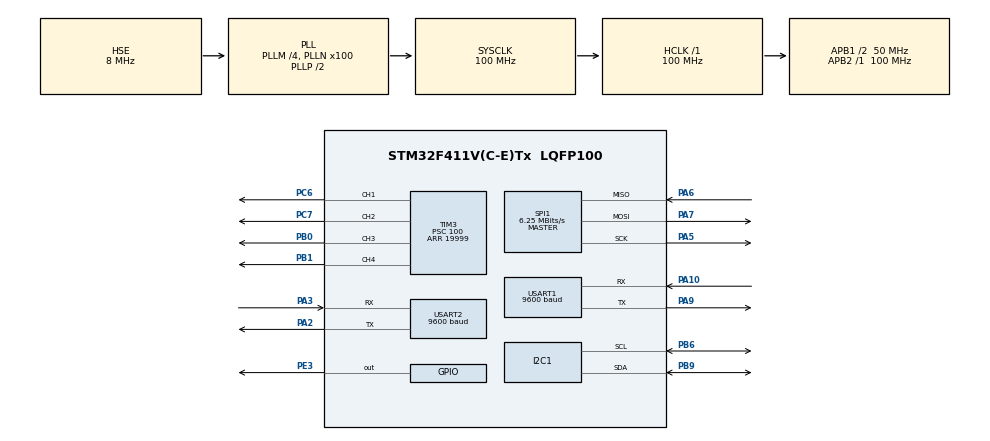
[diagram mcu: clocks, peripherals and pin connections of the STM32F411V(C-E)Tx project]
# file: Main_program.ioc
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I2C1.I2C_Mode=I2C_Fast
Mcu.Family=STM32F4
Mcu.Name=STM32F411V(C-E)Tx
Mcu.Package=LQFP100
NVIC.PriorityGroup=NVIC_PRIORITYGROUP_4
NVIC.TIM4_IRQn=true\:0\:0\:false\:false\:true\:true\:true
PA10.Mode=Asynchronous
PA10.Signal=USART1_RX
PA13.Mode=Serial_Wire
PA13.Signal=SYS_JTMS-SWDIO
PA14.Mode=Serial_Wire
PA14.Signal=SYS_JTCK-SWCLK
PA2.Mode=Asynchronous
PA2.Signal=USART2_TX
PA3.Mode=Asynchronous
PA3.Signal=USART2_RX
PA5.Mode=Full_Duplex_Master
PA5.Signal=SPI1_SCK
PA6.Mode=Full_Duplex_Master
PA6.Signal=SPI1_MISO
PA7.Mode=Full_Duplex_Master
PA7.Signal=SPI1_MOSI
PA9.Mode=Asynchronous
PA9.Signal=USART1_TX
PB0.Signal=S_TIM3_CH3
PB1.Signal=S_TIM3_CH4
PB6.Mode=I2C
PB6.Signal=I2C1_SCL
PB9.Mode=I2C
PB9.Signal=I2C1_SDA
PC6.Signal=S_TIM3_CH1
PC7.Signal=S_TIM3_CH2
PE3.Signal=GPIO_Output
PH0\ -\ OSC_IN.Mode=HSE-External-Oscillator
PH0\ -\ OSC_IN.Signal=RCC_OSC_IN
PH1\ -\ OSC_OUT.Mode=HSE-External-Oscillator
PH1\ -\ OSC_OUT.Signal=RCC_OSC_OUT
ProjectManager.HeapSize=0x200
ProjectManager.StackSize=0x400
ProjectManager.TargetToolchain=MDK-ARM V5
RCC.48MHZClocksFreq_Value=50000000
RCC.AHBFreq_Value=100000000
RCC.APB1CLKDivider=RCC_HCLK_DIV2
RCC.APB1Freq_Value=50000000
RCC.APB1TimFreq_Value=100000000
RCC.APB2Freq_Value=100000000
RCC.APB2TimFreq_Value=100000000
RCC.CortexFreq_Value=100000000
RCC.HCLKFreq_Value=100000000
RCC.HSE_VALUE=8000000
RCC.HSI_VALUE=16000000
RCC.LSE_VALUE=32768
RCC.PLLM=4
RCC.PLLN=100
RCC.PLLSourceVirtual=RCC_PLLSOURCE_HSE
RCC.SYSCLKFreq_VALUE=100000000
RCC.SYSCLKSource=RCC_SYSCLKSOURCE_PLLCLK
RCC.VCOOutputFreq_Value=200000000
SH.S_TIM3_CH1.0=TIM3_CH1,PWM Generation1 CH1
SH.S_TIM3_CH2.0=TIM3_CH2,PWM Generation2 CH2
SH.S_TIM3_CH3.0=TIM3_CH3,PWM Generation3 CH3
SH.S_TIM3_CH4.0=TIM3_CH4,PWM Generation4 CH4
SPI1.BaudRatePrescaler=SPI_BAUDRATEPRESCALER_16
SPI1.CalculateBaudRate=6.25 MBits/s
SPI1.Direction=SPI_DIRECTION_2LINES
SPI1.Mode=SPI_MODE_MASTER
SPI1.VirtualType=VM_MASTER
TIM3.Channel-PWM\ Generation1\ CH1=TIM_CHANNEL_1
TIM3.Channel-PWM\ Generation2\ CH2=TIM_CHANNEL_2
TIM3.Channel-PWM\ Generation3\ CH3=TIM_CHANNEL_3
TIM3.Channel-PWM\ Generation4\ CH4=TIM_CHANNEL_4
TIM3.Period=19999
TIM3.Prescaler=100
TIM4.Period=24999
TIM4.Prescaler=20
USART1.BaudRate=9600
USART1.VirtualMode=VM_ASYNC
USART2.BaudRate=9600
USART2.VirtualMode=VM_ASYNC
VP_TIM3_VS_ClockSourceINT.Mode=Internal
VP_TIM4_VS_ClockSourceINT.Mode=Internal
board=custom

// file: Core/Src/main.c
/* USER CODE BEGIN Header */
/**
  ******************************************************************************
  * @file           : main.c
  * @brief          : Main program body
  ******************************************************************************
  * @attention
  *
  * <h2><center>&copy; Copyright (c) 2021 STMicroelectronics.
  * All rights reserved.</center></h2>
  *
  * This software component is licensed by ST under BSD 3-Clause license,
  * the "License"; You may not use this file except in compliance with the
  * License. You may obtain a copy of the License at:
  *                        opensource.org/licenses/BSD-3-Clause
  *
  ******************************************************************************
  */
/* USER CODE END Header */
#include "main.h"
#include "i2c.h"
#include "spi.h"
#include "tim.h"
#include "usart.h"
#include "gpio.h"

/* USER CODE BEGIN Includes */
#include "IMU.h"
#include "math.h"
#include "stdio.h"
/* USER CODE END Includes */

/* USER CODE BEGIN PV */
axis trucx, trucy, trucz;

extern  double U1, U2, U3, U4 , offset_nghiengX, offset_nghiengY;
double b = 0.00009, d = 0.000006484;
double dt=0.025;
double T = 0.05;

double PWM[4];
double pwm1, pwm2, pwm3, pwm4;

int dem;
char buffer[100] = {0};
double gocread[800];

/*PID controller variables*/
extern float gocdat_Roll, error_Roll, error_Roll_pre, pid_roll_P, pid_roll_I, pid_roll_D;
extern float gocdat_Pitch , error_Pitch,error_Pitch_pre, pid_pitch_P, pid_pitch_I, pid_pitch_D;
extern float gocdat_Yaw , error_Yaw,error_Yaw_pre, pid_yaw_P, pid_yaw_I, pid_yaw_D, yaw_PID;

float roll_PID =0, pitch_PID = 0,yaw_PID = 0;

float roll_pre = 0, pitch_pre = 0;

volatile unsigned char btn;
float y_temp = 0;
//             Roll 1-3 (4, 0.01, 35);        Pitch 2-4(2.05, 0.015, 28);          YAW( P:5.2,I:0.5, D: 0.5)
volatile float KP1 = 1.35, KD1 = 35, KI1 = 0.015, KP2 = 1.35 , KD2 = 35, KI2 = 0.015 , KP3 =  3, KD3=0,KI3 = 0;
//volatile float KP1 = 0, KD1 = 0, KI1 = 0.0, KP2 = 0 , KD2 = 0, KI2 = 00.0, KP3 = 0 , KD3=0,KI3 = 0;

/* USER CODE END PV */

void SystemClock_Config(void);
/* USER CODE BEGIN PFP */
void Calculation_SetPoint(void);
/* USER CODE END PFP */

/* USER CODE BEGIN 0 */
void HAL_TIM_PeriodElapsedCallback(TIM_HandleTypeDef *htim)
{
  if (htim->Instance == htim4.Instance)
	{

		LMS303DLHC_getdata(&trucx, &trucy,&trucz);
		L3GD20_getdata(&trucx, &trucy,&trucz);

		/* Complementary filter */
		trucx.gocreal = 0.98*(trucx.gocreal + trucx.goc_gryo) + 0.02*trucx.goc_acel;
		trucy.gocreal = 0.98*(trucy.gocreal + trucy.goc_gryo) + 0.02*trucy.goc_acel;

		/* Low- pass filter*/
		trucx.gocreal = (trucx.gocreal * dt + T * pitch_pre) / (dt + T);

		pitch_pre = trucx.gocreal;

		trucy.gocreal = (trucy.gocreal * dt + T * roll_pre ) / (dt + T);
		y_temp = trucy.gocreal * -1;
		roll_pre = trucy.gocreal;

		/*Calculation yaw angle from roll and pitch after filter*/
		yaw_cal(&trucx, &trucy, &trucz);

		/* Calculate Set point*/
		Calculation_SetPoint();

		/************* Calculate Roll PID controller ********************/

		error_Roll = gocdat_Roll - trucx.gocreal; 	// error

		pid_roll_P  =  KP1 * error_Roll;            // P part

		if ( error_Roll > -30 && error_Roll < 30)
			 { pid_roll_I += KI1 * error_Roll; }			// I part

		pid_roll_D  = (float)KD1 * (error_Roll - error_Roll_pre); // D part
		error_Roll_pre = error_Roll;

		if (pid_roll_I  >  100)
			 { pid_roll_I  =  100;}

		if (pid_roll_I  < -100)
			 {pid_roll_I  = -100;}

		roll_PID  = pid_roll_P + pid_roll_I + pid_roll_D;   // Total

		if ( roll_PID  < -400)
		   { roll_PID  = -400;}

		if ( roll_PID  >  400)
		   { roll_PID =   400;}

		/******************************************************************/

		/************** Calculate Pitch PID controller ********************/

		error_Pitch = gocdat_Pitch - y_temp -2.2;    // error

		pid_pitch_P =  KP2 * error_Pitch;		// P part

		if ( error_Pitch > -30 && error_Pitch < 30)  // I Part
			 { pid_pitch_I += KI2 * error_Pitch; }

		pid_pitch_D = (float)KD2 * (error_Pitch - error_Pitch_pre);	 // D part
		error_Pitch_pre = error_Pitch;

		if (pid_pitch_I >  100)
			 { pid_pitch_I =  100;}

		if (pid_pitch_I < -100)
			 { pid_pitch_I = -100;}

		pitch_PID = pid_pitch_P + pid_pitch_I + pid_pitch_D;  // Total

		if ( pitch_PID < -400)
			 { pitch_PID = -400;}

		if ( pitch_PID >  400)
			 { pitch_PID =  400;}

		/******************************************************************/

		/************** Calculate Pitch PID controller ********************/

		error_Yaw = gocdat_Yaw - trucz.gocreal;

		pid_yaw_P   =  KP3* error_Yaw;  // P part
		pid_yaw_I  += KI3 * error_Yaw * dt; // I Part
		pid_yaw_D   = (float)KD3 * (error_Yaw - error_Yaw_pre)/dt; // D part
    error_Yaw_pre = error_Yaw;

		if (pid_yaw_I   >  50)
			 {pid_yaw_I   =  50;}

		if (pid_yaw_I   < -50)
			 {pid_yaw_I   = -50;}

		yaw_PID		= pid_yaw_P + pid_yaw_I + pid_yaw_D;  // Total

		if ( yaw_PID   < -400)
		   { yaw_PID  = -400;}

		if ( yaw_PID   >  400)
			 { yaw_PID =   400;}

		/******************************************************************/

		/* Calculate PWM output*/
		if(U1 > 1500)
			U1 = 1500;

		PWM[0] = U1 + pitch_PID  - yaw_PID ;
		PWM[1] = U1 + roll_PID + yaw_PID;
		PWM[2] = U1 - pitch_PID  - yaw_PID ;
		PWM[3] = U1 - roll_PID + yaw_PID;

	 for (int i=0;i<4;i++)
		 {
	     if (PWM[i] > 2000)
				 PWM[i] = 2000;
			 else if (PWM[i] < 1000)
				 PWM[i] = 1000;
		 }

		pwm1 = PWM[0] + offset_nghiengX;
		pwm2 = PWM[1] + offset_nghiengY;
		pwm3 = PWM[2] - offset_nghiengX;
		pwm4 = PWM[3] - offset_nghiengY;

	__HAL_TIM_SetCompare (&htim3, TIM_CHANNEL_1,(uint16_t)pwm1);
	__HAL_TIM_SetCompare (&htim3, TIM_CHANNEL_2,(uint16_t)pwm2);
	__HAL_TIM_SetCompare (&htim3, TIM_CHANNEL_3,(uint16_t)pwm3);
	__HAL_TIM_SetCompare (&htim3, TIM_CHANNEL_4,(uint16_t)pwm4);

	}

	/* Truyen thong 50ms/1 time: tang offset de lay phan thap phan*/
	if(dem++ > 2)
	{
		int size;
		long tmp_gocdatRoll = (long)1000*gocdat_Roll;
		long tmp_gocrealRoll = (long)1000*(trucy.gocreal+45);

		long tmp_gocdatPitch = (long)1000* gocdat_Pitch;
		long tmp_gocrealPitch = (long)1000*(trucx.gocreal+45);

		long tmp_gocdatYaw = (long) 1000*gocdat_Yaw;
		long tmp_gocrealYaw = (long)1000*(trucz.gocreal+45);

		size = sprintf((char*)buffer,"A,%ld,%ld,%ld,%ld,%ld,%ld\n",
										tmp_gocdatRoll,tmp_gocrealRoll, tmp_gocdatPitch, tmp_gocrealPitch, tmp_gocdatYaw, tmp_gocrealYaw);

		HAL_UART_Transmit(&huart2,(uint8_t*)buffer,size,100);
		dem=0;
	}
}
/* USER CODE END 0 */

int main(void)
{

  /* MCU Configuration--------------------------------------------------------*/

  /* Reset of all peripherals, Initializes the Flash interface and the Systick. */

  HAL_Init();

  /* Configure the system clock */
  SystemClock_Config();

  /* Initialize all configured peripherals */
  MX_GPIO_Init();
  MX_I2C1_Init();
  MX_SPI1_Init();
  MX_TIM3_Init();
  MX_TIM4_Init();
  MX_USART1_UART_Init();
  MX_USART2_UART_Init();
  /* USER CODE BEGIN 2 */

	/*Initialize sensor*/
	LMS303DLHC_Init();
  L3GD20_Init();
	HAL_Delay(10);

	/* Get data from sensor*/
	LMS303DLHC_getdata(&trucx, &trucy,&trucz);
  L3GD20_getdata(&trucx, &trucy,&trucz);

	/* Start receiver data from bluetooth*/
	HAL_UART_Receive(&huart1, &Button, 1, 100);

	/*Inititalize PWM channel*/
	HAL_TIM_PWM_Start(&htim3, TIM_CHANNEL_1);
	HAL_TIM_PWM_Start(&htim3, TIM_CHANNEL_2);
	HAL_TIM_PWM_Start(&htim3, TIM_CHANNEL_3);
	HAL_TIM_PWM_Start(&htim3, TIM_CHANNEL_4);

	/*Set PWM min*/
//	__HAL_TIM_SetCompare (&htim3, TIM_CHANNEL_1, 2000);
//	__HAL_TIM_SetCompare (&htim3, TIM_CHANNEL_2, 2000);
//	__HAL_TIM_SetCompare (&htim3, TIM_CHANNEL_3, 2000);
//	__HAL_TIM_SetCompare (&htim3, TIM_CHANNEL_4, 2000);
//	HAL_Delay(3000);
	__HAL_TIM_SetCompare (&htim3, TIM_CHANNEL_1, 1000);
	__HAL_TIM_SetCompare (&htim3, TIM_CHANNEL_2, 1000);
		__HAL_TIM_SetCompare (&htim3, TIM_CHANNEL_3, 1000);
	__HAL_TIM_SetCompare (&htim3, TIM_CHANNEL_4, 1000);
	HAL_Delay (2000);
	gocdat_Pitch = gocdat_Roll = 0;
		gocdat_Yaw = 150;
		HAL_TIM_Base_Start_IT(&htim4);

  /* USER CODE END 2 */

  /* Infinite loop */
  while (1)
  {

    /* USER CODE BEGIN 3 */
		UART_READ_DATA();

		//HAL_UART_Transmit_IT
  }
  /* USER CODE END 3 */
}

void SystemClock_Config(void)
{
  RCC_OscInitTypeDef RCC_OscInitStruct = {0};
  RCC_ClkInitTypeDef RCC_ClkInitStruct = {0};

  /** Configure the main internal regulator output voltage
  */
  __HAL_RCC_PWR_CLK_ENABLE();
  __HAL_PWR_VOLTAGESCALING_CONFIG(PWR_REGULATOR_VOLTAGE_SCALE1);
  /** Initializes the RCC Oscillators according to the specified parameters
  * in the RCC_OscInitTypeDef structure.
  */
  RCC_OscInitStruct.OscillatorType = RCC_OSCILLATORTYPE_HSE;
  RCC_OscInitStruct.HSEState = RCC_HSE_ON;
  RCC_OscInitStruct.PLL.PLLState = RCC_PLL_ON;
  RCC_OscInitStruct.PLL.PLLSource = RCC_PLLSOURCE_HSE;
  RCC_OscInitStruct.PLL.PLLM = 4;
  RCC_OscInitStruct.PLL.PLLN = 100;
  RCC_OscInitStruct.PLL.PLLP = RCC_PLLP_DIV2;
  RCC_OscInitStruct.PLL.PLLQ = 4;
  if (HAL_RCC_OscConfig(&RCC_OscInitStruct) != HAL_OK)
  {
    Error_Handler();
  }
  /** Initializes the CPU, AHB and APB buses clocks
  */
  RCC_ClkInitStruct.ClockType = RCC_CLOCKTYPE_HCLK|RCC_CLOCKTYPE_SYSCLK
                              |RCC_CLOCKTYPE_PCLK1|RCC_CLOCKTYPE_PCLK2;
  RCC_ClkInitStruct.SYSCLKSource = RCC_SYSCLKSOURCE_PLLCLK;
  RCC_ClkInitStruct.AHBCLKDivider = RCC_SYSCLK_DIV1;
  RCC_ClkInitStruct.APB1CLKDivider = RCC_HCLK_DIV2;
  RCC_ClkInitStruct.APB2CLKDivider = RCC_HCLK_DIV1;

  if (HAL_RCC_ClockConfig(&RCC_ClkInitStruct, FLASH_LATENCY_3) != HAL_OK)
  {
    Error_Handler();
  }
}

/* USER CODE BEGIN 4 */
void Calculation_SetPoint(void)
{
	switch(btn)
	{
//		case btn_tien_click_down:
//			gocdat_Pitch += 0.025f;
//		  if (gocdat_Pitch > 15)
//				 {gocdat_Pitch = 15;}
//			break;
//
//		case btn_tien_click_up:
//			gocdat_Pitch -= 0.025f;
//			if (gocdat_Pitch < 0)
//			   {gocdat_Pitch = 0;}
//			break;
//
//		case btn_lui_click_down:
//			gocdat_Pitch -= 0.025f;
//			if (gocdat_Pitch < -15)
//			   {gocdat_Pitch = -15;}
//			break;
//
//		case btn_lui_click_up:
//			gocdat_Pitch += 0.025f;
//		  if (gocdat_Pitch > 0)
//				 {gocdat_Pitch = 0;}
//			break;
//
//		case btn_trai_click_down:
//			gocdat_Roll += 0.025f;
//		  if (gocdat_Roll > 15)
//				 {gocdat_Roll = 15;}
//			break;
//
//		case btn_trai_click_up:
//			gocdat_Roll -= 0.025f;
//		  if (gocdat_Roll < 0)
//				 {gocdat_Roll = 0;}
//			break;
//
//		case btn_phai_click_down:
//			gocdat_Roll -= 0.025f;
//		  if (gocdat_Roll < -15)
//				 {gocdat_Roll = -15;}
//			break;
//
//		case btn_phai_click_up:
//			gocdat_Roll += 0.025f;
//		  if (gocdat_Roll > 0)
//				 {gocdat_Roll = 0;}
//			break;
//
//		case btn_stop:

//
//			__HAL_TIM_SetCompare (&htim3, TIM_CHANNEL_1, 1000);
//			__HAL_TIM_SetCompare (&htim3, TIM_CHANNEL_2, 1000);
// 			__HAL_TIM_SetCompare (&htim3, TIM_CHANNEL_3, 1000);
//			__HAL_TIM_SetCompare (&htim3, TIM_CHANNEL_4, 1000);
//		HAL_TIM_Base_Stop_IT(&htim4);
//		case btn_start:
//			U1 = 1000;
//			pitch_PID = roll_PID = 0;
//			HAL_TIM_Base_Start_IT(&htim4);
//			break;
	}
}
/* USER CODE END 4 */

void Error_Handler(void)
{
}

/************************ (C) COPYRIGHT STMicroelectronics *****END OF FILE****/
